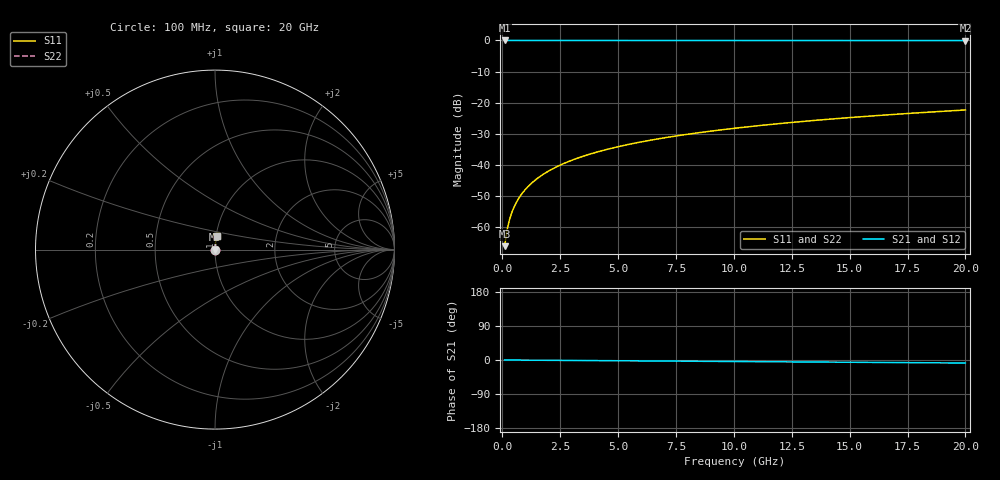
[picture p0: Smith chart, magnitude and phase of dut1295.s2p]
! Touchstone file exported from HFSS 2026.1.0
!  File:  C:/ffzhzh/LocalFiles/Ansys_Project_Files/temp_train_TSV_1295_1783194617_55132.aedt
!  Generated:  03:52:00 AM Jul  5, 2026
!  Design:  TSV
!  Project:  temp_train_TSV_1295_1783194617_55132
! Variables:
!  h_bsmrdl = 2um
!  h_ox = 20um
!  h_rdl = 5um
!  h_sub = 58.33um
!  h_tmrdl = 5um
!  h_tsv = 58.33um
!  h_via = 3um
!  l_bsmrdl = 300um
!  l_sub = 410.64um
!  l_tmrdl = 200um
!  m_sub = 200um
!  pitch = 52.89um
!  r_tsv = 5.32um
!  s_tmrdl = 10um
!  w_bsmrdl = 18um
!  w_sub = 500um
!  w_tmrdl = 12um
!  x_tsv_center1 = 206um
!  x_tsv_center2 = 524um
!  x_tsv_center3 = 736um
!  x_tsv_center4 = 1054um
!  x_tsv_center5 = 1266um
!  x_tsv_center6 = 1584um
# GHz S MA R 50.000000
! Terminal data exported
! Port[1] = TSV1_1_T1
! Port[2] = TSV1_1_T2
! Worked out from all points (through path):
!   200 points, 100 MHz to 20 GHz, reference 50 ohm
!   highest |S21| = 0.00 dB at 100 MHz (marker M1); lowest = 0.0 dB at 20 GHz (marker M2)
!   group delay of S21, straight-line fit = 1.1 ps
!   lowest |S11| = -66.1 dB at 100 MHz (marker M3), VSWR 1.00, Z = 50 + j0.0418 ohm
!   |S11| at or under -10 dB: start of sweep to end of sweep
!   |S22| runs from -66.1 to -22.3 dB; largest |S21 - S12| = 4e-15
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0.1  0.0004976 57.1  0.9997 -0.0  0.9997 -0.0  0.0004976 57.1
! Gamma 0 0 0 0
! Port Impedance 50 0 50 0
0.2  0.0008791 71.5  0.9997 -0.1  0.9997 -0.1  0.0008791 71.5
0.3  0.001279 76.7  0.9997 -0.1  0.9997 -0.1  0.001279 76.7
0.4  0.001682 79.4  0.9997 -0.2  0.9997 -0.2  0.001682 79.4
0.5  0.002082 81.0  0.9997 -0.2  0.9997 -0.2  0.002082 81.0
0.7  0.002879 82.8  0.9996 -0.3  0.9996 -0.3  0.002879 82.8
0.8  0.003275 83.4  0.9996 -0.3  0.9996 -0.3  0.003275 83.4
1  0.004065 84.2  0.9996 -0.4  0.9996 -0.4  0.004065 84.2
1.2  0.004854 84.8  0.9996 -0.5  0.9996 -0.5  0.004854 84.8
1.4  0.005642 85.2  0.9996 -0.6  0.9996 -0.6  0.005642 85.2
1.7  0.006824 85.5  0.9995 -0.7  0.9995 -0.7  0.006824 85.5
2  0.008003 85.8  0.9995 -0.8  0.9995 -0.8  0.008003 85.8
2.7  0.01075 86.0  0.9994 -1.1  0.9994 -1.1  0.01075 86.0
3.5  0.01386 86.0  0.9993 -1.4  0.9993 -1.4  0.01386 86.0
4.2  0.01658 85.9  0.9992 -1.7  0.9992 -1.7  0.01658 85.9
5  0.01967 85.8  0.999 -2.0  0.999 -2.0  0.01967 85.8
6.8  0.02657 85.3  0.9987 -2.7  0.9987 -2.7  0.02657 85.3
8.3  0.0323 84.9  0.9985 -3.3  0.9985 -3.3  0.0323 84.9
10.1  0.03916 84.4  0.9981 -4.0  0.9981 -4.0  0.03916 84.4
13.4  0.05169 83.3  0.9974 -5.3  0.9974 -5.3  0.05169 83.3
16.7  0.06415 82.1  0.9966 -6.6  0.9966 -6.6  0.06415 82.1
20  0.07651 80.9  0.9955 -7.9  0.9955 -7.9  0.07651 80.9
